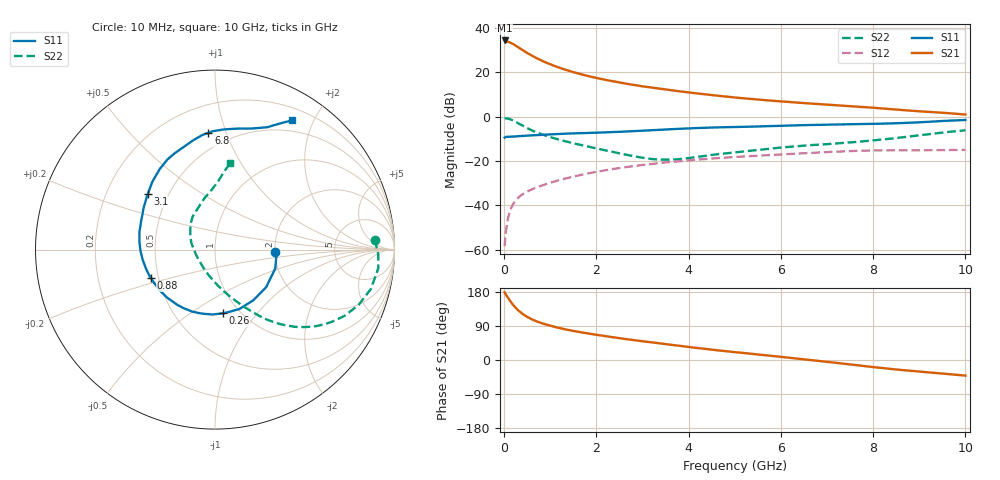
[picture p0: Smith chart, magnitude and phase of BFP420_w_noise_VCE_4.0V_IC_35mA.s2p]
! Infineon Technologies  Discrete & RF Semiconductors
! BFP420
! VCE =  4.0 V,  IC =  35 mA
! Common Emitter S-Parameters:  Jan 2016
# GHz  S  MA  R  50
!  f  S11  S21  S12  S22
! GHz  MAG  ANG  MAG  ANG  MAG  ANG  MAG  ANG
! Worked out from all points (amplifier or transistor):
!   233 points, 10 MHz to 10 GHz, reference 50 ohm
!   highest |S21| = 34.3 dB at 10 MHz (marker M1)
!   |S21| within 3 dB of that: start of sweep to 300.4 MHz
!   unconditionally stable (mu >= 1): start of sweep to 19.77 MHz; 1.486 GHz to end of sweep
!   at 200 MHz: K = 0.38, MSG = 35.9 dB, |S12| = -39.3 dB
!   at 1.74 GHz: K = 1.04, MAG = 21.1 dB, |S12| = -26.0 dB
!   at 10 GHz: K = 1.06, MAG = 6.5 dB, |S12| = -15.0 dB
!   lowest NFmin = 1.64 dB at 900 MHz
!   S11 on the Smith chart (normalised r, x): 10 MHz: 2.01, -0.05; 260 MHz: 0.84, -0.68; 880 MHz: 0.45, -0.17; 3.1 GHz: 0.38, +0.31; 6.8 GHz: 0.38, +0.87; 10 GHz: 0.35, +1.71
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0.01  0.3361 -2.0  52 178.8  0.0012 67.8  0.8916 3.5
0.02  0.3438 -6.8  50.57 175.6  0.0017 74.5  0.9099 -1.6
0.05  0.352 -17.4  49.84 170.0  0.0032 72.2  0.9158 -6.5
0.085  0.3491 -30.7  48.62 163.5  0.0052 73.3  0.8997 -11.9
0.15  0.3542 -53.0  45.75 152.1  0.0086 71.0  0.8563 -21.3
0.2  0.3576 -67.6  42.86 144.5  0.0109 68.4  0.8088 -27.3
0.26  0.3576 -83.0  39.1 136.4  0.0133 65.7  0.7485 -33.3
0.3  0.3618 -92.0  36.84 131.5  0.0147 64.3  0.7092 -36.9
0.4  0.3679 -110.2  31.52 121.6  0.0178 61.8  0.6207 -43.9
0.5  0.3725 -124.1  27.13 113.7  0.0204 60.5  0.5475 -49.1
0.6  0.378 -135.1  23.61 107.3  0.0228 59.8  0.4893 -53.2
0.7  0.3834 -143.8  20.79 102.1  0.0252 59.7  0.4423 -56.4
0.88  0.3911 -156.0  16.98 94.5  0.0293 59.7  0.3784 -61.2
1.2  0.4064 -171.5  12.58 84.2  0.037 59.5  0.2998 -69.0
1.68  0.4245 172.5  8.936 72.8  0.0489 57.8  0.2269 -79.9
2.26  0.443 157.7  6.536 61.8  0.0634 53.9  0.1677 -94.9
3.1  0.4863 140.2  4.653 48.1  0.0834 46.6  0.1141 -129.3
3.4  0.5062 134.7  4.205 43.5  0.0902 43.7  0.1073 -146.2
5.1  0.5849 111.4  2.635 19.6  0.1246 27.5  0.1599 149.4
6.8  0.6517 93.2  1.921 -2.1  0.1547 11.7  0.232 119.0
8.4  0.7014 74.0  1.466 -23.8  0.1732 -6.2  0.3194 95.6
10  0.8388 59.1  1.112 -41.3  0.1777 -18.7  0.4895 80.0
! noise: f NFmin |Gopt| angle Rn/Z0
0.9  1.64  0.3  -155  0.13
1.8  1.9  0.37  -142  0.15
2.4  2.1  0.34  -134  0.19
3  2.11  0.4  -126  0.22
4  2.25  0.5  -110  0.35
5  2.73  0.54  -94  0.59
6  3.16  0.59  -82  0.84
